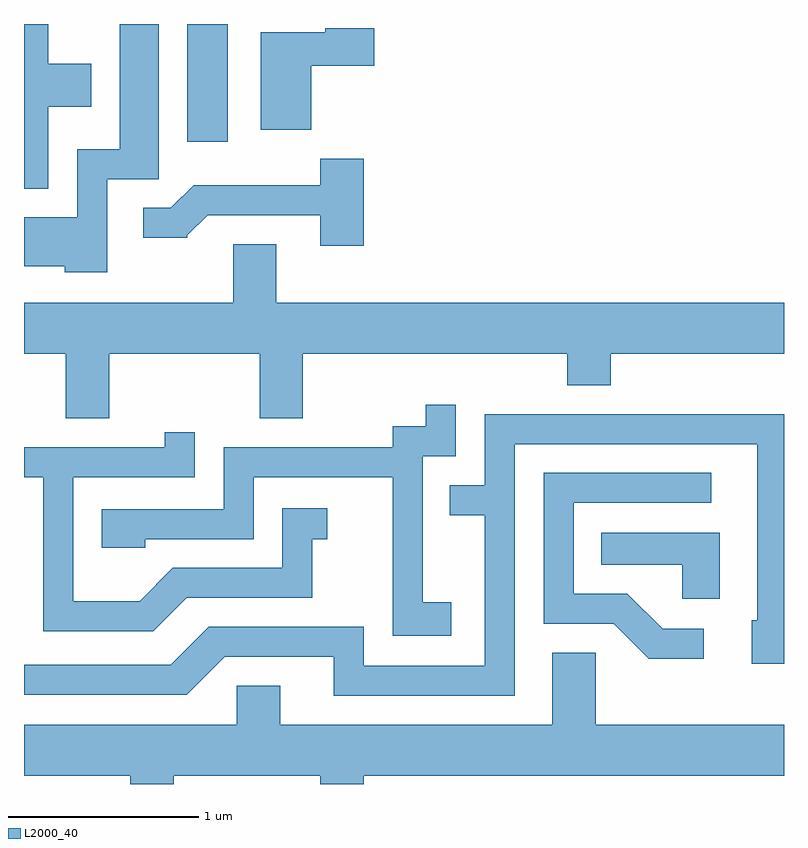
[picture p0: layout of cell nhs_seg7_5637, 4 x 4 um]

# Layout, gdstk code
import gdstk
lib = gdstk.Library(unit=1e-6, precision=1e-09)
def R(c, l, rs):  # rectangles x0, y0, x1, y1
    for r in rs: c.add(gdstk.rectangle(r[:2], r[2:], *l))
def P(c, l, *ps):  # polygons
    for p in ps: c.add(gdstk.Polygon(p, *l))
L2000_40 = (2000, 40)

nhs_seg7_5637 = lib.new_cell('nhs_seg7_5637')
R(nhs_seg7_5637, L2000_40, [(358.471,1737.631,358.684,1738.252)])
P(nhs_seg7_5637, L2000_40, [(358.049,1737.436),(358.319,1737.436),(358.319,1738.252),(358.116,1738.252),(358.116,1737.594),(357.891,1737.594),(357.891,1737.234),(357.611,1737.234),(357.611,1736.976),(357.826,1736.976),(357.826,1736.946),(358.049,1736.946)],
  [(357.739,1737.816),(357.964,1737.816),(357.964,1738.044),(357.739,1738.044),(357.739,1738.252),(357.611,1738.252),(357.611,1737.386),(357.739,1737.386)],
  [(359.124,1738.031),(359.454,1738.031),(359.454,1738.229),(359.196,1738.229),(359.196,1738.209),(358.856,1738.209),(358.856,1737.696),(359.124,1737.696)],
  [(359.399,1737.544),(359.171,1737.544),(359.171,1737.404),(358.504,1737.404),(358.384,1737.284),(358.238,1737.284),(358.238,1737.126),(358.47,1737.126),(358.47,1737.14),(358.577,1737.246),(359.171,1737.246),(359.171,1737.086),(359.399,1737.086)],
  [(358.059,1736.516),(358.851,1736.516),(358.851,1736.176),(359.079,1736.176),(359.079,1736.516),(360.471,1736.516),(360.471,1736.351),(360.699,1736.351),(360.699,1736.516),(361.611,1736.516),(361.611,1736.784),(358.939,1736.784),(358.939,1737.094),(358.711,1737.094),(358.711,1736.784),(357.611,1736.784),(357.611,1736.516),(357.831,1736.516),(357.831,1736.176),(358.059,1736.176)],
  [(359.859,1735.209),(359.709,1735.209),(359.709,1735.976),(359.884,1735.976),(359.884,1736.248),(359.726,1736.248),(359.726,1736.134),(359.551,1736.134),(359.551,1736.024),(358.661,1736.024),(358.661,1735.699),(358.021,1735.699),(358.021,1735.496),(358.249,1735.496),(358.249,1735.541),(358.819,1735.541),(358.819,1735.866),(359.551,1735.866),(359.551,1735.031),(359.859,1735.031)],
  [(360.194,1736.041),(361.471,1736.041),(361.471,1735.114),(361.441,1735.114),(361.441,1734.886),(361.611,1734.886),(361.611,1736.199),(360.036,1736.199),(360.036,1735.824),(359.853,1735.824),(359.853,1735.666),(360.036,1735.666),(360.036,1734.874),(359.399,1734.874),(359.399,1735.079),(358.584,1735.079),(358.384,1734.879),(357.611,1734.879),(357.611,1734.721),(358.467,1734.721),(358.667,1734.921),(359.241,1734.921),(359.241,1734.716),(360.194,1734.716)],
  [(358.467,1735.231),(359.129,1735.231),(359.129,1735.541),(359.208,1735.541),(359.208,1735.704),(358.971,1735.704),(358.971,1735.389),(358.394,1735.389),(358.219,1735.214),(357.869,1735.214),(357.869,1735.866),(358.509,1735.866),(358.509,1736.103),(358.351,1736.103),(358.351,1736.024),(357.611,1736.024),(357.611,1735.866),(357.711,1735.866),(357.711,1735.056),(358.292,1735.056)],
  [(361.188,1735.069),(360.972,1735.069),(360.787,1735.254),(360.504,1735.254),(360.504,1735.731),(361.228,1735.731),(361.228,1735.889),(360.346,1735.889),(360.346,1735.096),(360.714,1735.096),(360.899,1734.911),(361.188,1734.911)],
  [(361.274,1735.574),(360.648,1735.574),(360.648,1735.406),(361.076,1735.406),(361.076,1735.226),(361.274,1735.226)],
  [(358.399,1734.296),(359.171,1734.296),(359.171,1734.252),(359.399,1734.252),(359.399,1734.296),(361.611,1734.296),(361.611,1734.564),(360.619,1734.564),(360.619,1734.944),(360.391,1734.944),(360.391,1734.564),(358.959,1734.564),(358.959,1734.769),(358.731,1734.769),(358.731,1734.564),(357.611,1734.564),(357.611,1734.296),(358.171,1734.296),(358.171,1734.252),(358.399,1734.252)])

lib.write_gds('nhs_seg7_5637.gds')
